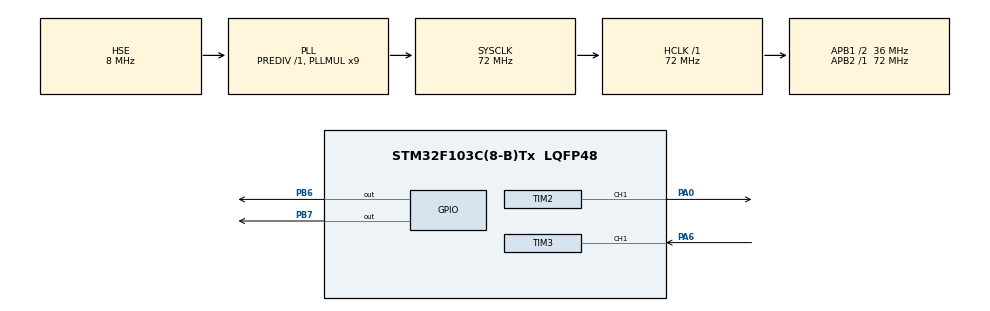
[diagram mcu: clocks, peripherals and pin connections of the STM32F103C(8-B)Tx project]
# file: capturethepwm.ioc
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Mcu.Family=STM32F1
Mcu.Name=STM32F103C(8-B)Tx
Mcu.Package=LQFP48
NVIC.PriorityGroup=NVIC_PRIORITYGROUP_4
NVIC.TIM2_IRQn=true\:0\:0\:false\:false\:true\:true\:true\:true
NVIC.TIM3_IRQn=true\:0\:0\:false\:false\:true\:true\:true\:true
PA0-WKUP.Signal=S_TIM2_CH1_ETR
PA13.Mode=Serial_Wire
PA13.Signal=SYS_JTMS-SWDIO
PA14.Mode=Serial_Wire
PA14.Signal=SYS_JTCK-SWCLK
PA6.Signal=S_TIM3_CH1
PB6.GPIO_ModeDefaultOutputPP=GPIO_MODE_OUTPUT_OD
PB6.GPIO_PuPd=GPIO_PULLUP
PB6.GPIO_Speed=GPIO_SPEED_FREQ_HIGH
PB6.PinState=GPIO_PIN_SET
PB6.Signal=GPIO_Output
PB7.GPIO_ModeDefaultOutputPP=GPIO_MODE_OUTPUT_OD
PB7.GPIO_PuPd=GPIO_PULLUP
PB7.GPIO_Speed=GPIO_SPEED_FREQ_HIGH
PB7.PinState=GPIO_PIN_SET
PB7.Signal=GPIO_Output
PD0-OSC_IN.Mode=HSE-External-Oscillator
PD0-OSC_IN.Signal=RCC_OSC_IN
PD1-OSC_OUT.Mode=HSE-External-Oscillator
PD1-OSC_OUT.Signal=RCC_OSC_OUT
ProjectManager.HeapSize=0x200
ProjectManager.StackSize=0x400
ProjectManager.TargetToolchain=CMake
RCC.AHBFreq_Value=72000000
RCC.APB1CLKDivider=RCC_HCLK_DIV2
RCC.APB1Freq_Value=36000000
RCC.APB1TimFreq_Value=72000000
RCC.APB2Freq_Value=72000000
RCC.APB2TimFreq_Value=72000000
RCC.HCLKFreq_Value=72000000
RCC.PLLMUL=RCC_PLL_MUL9
RCC.PLLSourceVirtual=RCC_PLLSOURCE_HSE
RCC.SYSCLKFreq_VALUE=72000000
RCC.SYSCLKSource=RCC_SYSCLKSOURCE_PLLCLK
RCC.USBFreq_Value=72000000
SH.S_TIM2_CH1_ETR.0=TIM2_CH1,PWM Generation1 CH1
SH.S_TIM3_CH1.0=TIM3_CH1,PWM_Input_1
TIM2.Channel-PWM\ Generation1\ CH1=TIM_CHANNEL_1
TIM2.Period=1000-1
TIM2.Prescaler=72-1
TIM2.Pulse-PWM\ Generation1\ CH1=500
TIM3.AutoReloadPreload=TIM_AUTORELOAD_PRELOAD_ENABLE
TIM3.Prescaler=72-1
VP_TIM2_VS_ClockSourceINT.Mode=Internal
VP_TIM3_VS_ClockSourceINT.Mode=Internal
board=custom

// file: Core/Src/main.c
/* USER CODE BEGIN Header */
/**
  ******************************************************************************
  * @file           : main.c
  * @brief          : Main program body
  ******************************************************************************
  * @attention
  *
  * Copyright (c) 2026 STMicroelectronics.
  * All rights reserved.
  *
  * This software is licensed under terms that can be found in the LICENSE file
  * in the root directory of this software component.
  * If no LICENSE file comes with this software, it is provided AS-IS.
  *
  ******************************************************************************
  */
/* USER CODE END Header */
#include "main.h"
#include "tim.h"
#include "gpio.h"

/* USER CODE BEGIN Includes */
#include "oled.h"
#include <stdio.h>
/* USER CODE END Includes */

/* USER CODE BEGIN PV */
volatile uint32_t g_period = 0;
volatile uint32_t g_high   = 0;
volatile float    g_freq   = 0.0f;
volatile float    g_duty   = 0.0f;
/* USER CODE END PV */

void SystemClock_Config(void);

int main(void)
{

  /* MCU Configuration--------------------------------------------------------*/

  /* Reset of all peripherals, Initializes the Flash interface and the Systick. */
  HAL_Init();

  /* Configure the system clock */
  SystemClock_Config();

  /* Initialize all configured peripherals */
  MX_GPIO_Init();
  MX_TIM2_Init();
  MX_TIM3_Init();
  /* USER CODE BEGIN 2 */
  HAL_TIM_PWM_Start(&htim2, TIM_CHANNEL_1);
  HAL_TIM_IC_Start_IT(&htim3, TIM_CHANNEL_1);//捕获上升沿，并进入捕获中断
  HAL_TIM_IC_Start(&htim3, TIM_CHANNEL_2);//捕获下降沿
  HAL_Delay(20);
  OLED_Init();
  /* USER CODE END 2 */

  /* Infinite loop */
  while (1)
  {

    /* USER CODE BEGIN 3 */
    static uint32_t last_draw = 0;
     if (HAL_GetTick() - last_draw >= 200)
     {
      char buffer[20];
      last_draw = HAL_GetTick();
      OLED_NewFrame();
      sprintf(buffer,"F=%luHz", (unsigned long)g_freq);//输出频率
      OLED_PrintString(0, 0, buffer, &font16x16, OLED_COLOR_NORMAL);

      sprintf(buffer, "D=%lu%%", (unsigned long)g_duty);//输出占空比：x%
      OLED_PrintString(0, 20, buffer, &font16x16, OLED_COLOR_NORMAL);
      OLED_ShowFrame();
     }
  }
  /* USER CODE END 3 */
}

void SystemClock_Config(void)
{
  RCC_OscInitTypeDef RCC_OscInitStruct = {0};
  RCC_ClkInitTypeDef RCC_ClkInitStruct = {0};

  /** Initializes the RCC Oscillators according to the specified parameters
  * in the RCC_OscInitTypeDef structure.
  */
  RCC_OscInitStruct.OscillatorType = RCC_OSCILLATORTYPE_HSE;
  RCC_OscInitStruct.HSEState = RCC_HSE_ON;
  RCC_OscInitStruct.HSEPredivValue = RCC_HSE_PREDIV_DIV1;
  RCC_OscInitStruct.HSIState = RCC_HSI_ON;
  RCC_OscInitStruct.PLL.PLLState = RCC_PLL_ON;
  RCC_OscInitStruct.PLL.PLLSource = RCC_PLLSOURCE_HSE;
  RCC_OscInitStruct.PLL.PLLMUL = RCC_PLL_MUL9;
  if (HAL_RCC_OscConfig(&RCC_OscInitStruct) != HAL_OK)
  {
    Error_Handler();
  }

  /** Initializes the CPU, AHB and APB buses clocks
  */
  RCC_ClkInitStruct.ClockType = RCC_CLOCKTYPE_HCLK|RCC_CLOCKTYPE_SYSCLK
                              |RCC_CLOCKTYPE_PCLK1|RCC_CLOCKTYPE_PCLK2;
  RCC_ClkInitStruct.SYSCLKSource = RCC_SYSCLKSOURCE_PLLCLK;
  RCC_ClkInitStruct.AHBCLKDivider = RCC_SYSCLK_DIV1;
  RCC_ClkInitStruct.APB1CLKDivider = RCC_HCLK_DIV2;
  RCC_ClkInitStruct.APB2CLKDivider = RCC_HCLK_DIV1;

  if (HAL_RCC_ClockConfig(&RCC_ClkInitStruct, FLASH_LATENCY_2) != HAL_OK)
  {
    Error_Handler();
  }
}

/* USER CODE BEGIN 4 */
void HAL_TIM_IC_CaptureCallback(TIM_HandleTypeDef *htim)
{
    if (htim->Instance == TIM3 && htim->Channel == HAL_TIM_ACTIVE_CHANNEL_1)
    {
        g_period = HAL_TIM_ReadCapturedValue(htim, TIM_CHANNEL_1);
        g_high = HAL_TIM_ReadCapturedValue(htim, TIM_CHANNEL_2);

        if (g_period != 0)
        {
            g_freq = 1000000.0f / (float)g_period;//计算频率
            g_duty = ((float)g_high / (float)g_period) * 100.0f;//计算占空比
        }
    }
}
/* USER CODE END 4 */

void Error_Handler(void)
{
  __disable_irq();
  while (1)
  {
  }
}
